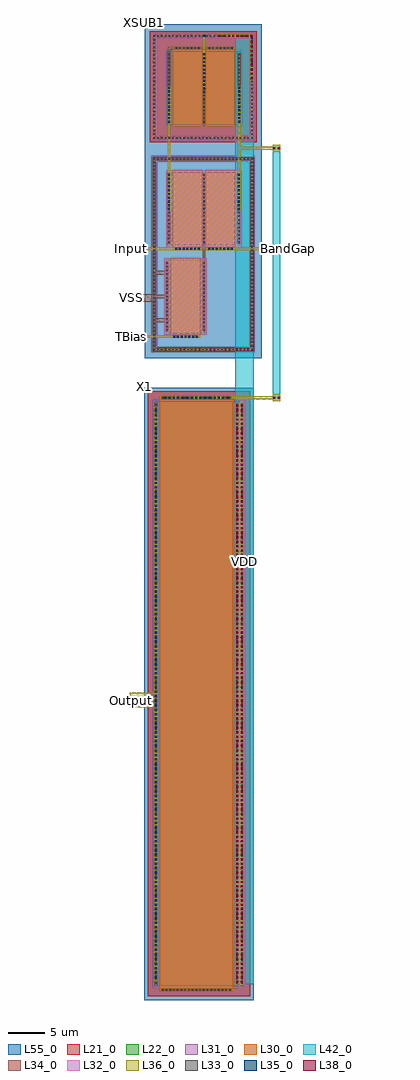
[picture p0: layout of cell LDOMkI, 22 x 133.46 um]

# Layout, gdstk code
import gdstk
lib = gdstk.Library(unit=1e-6, precision=1e-09)
def R(c, l, rs):  # rectangles x0, y0, x1, y1
    for r in rs: c.add(gdstk.rectangle(r[:2], r[2:], *l))
def A(c, l, x, y, w, h, nx, ny, dx, dy):  # array of equal rectangles
    R(c, l, [(x+i*dx, y+j*dy, x+i*dx+w, y+j*dy+h) for i in range(nx) for j in range(ny)])
def P(c, l, *ps):  # polygons
    for p in ps: c.add(gdstk.Polygon(p, *l))
L21_0 = (21, 0)
L22_0 = (22, 0)
L30_0 = (30, 0)
L31_0 = (31, 0)
L32_0 = (32, 0)
L33_0 = (33, 0)
L34_0 = (34, 0)
L35_0 = (35, 0)
L36_0 = (36, 0)
L38_0 = (38, 0)
L42_0 = (42, 0)
L55_0 = (55, 0)

pfet_1 = lib.new_cell('pfet$1')
R(pfet_1, L21_0, [(-1.32,-1.37,12.67,81.37)])
R(pfet_1, L22_0, [(-0.46,0,11.81,80)])
R(pfet_1, L30_0, [(0.31,-0.68,10.31,80.68)])
R(pfet_1, L31_0, [(-0.63,-0.24,11.08,80.24)])
R(pfet_1, L32_0, [(11.08,-0.17,11.98,80.17)])
A(pfet_1, L33_0, 0.61, -0.6, 0.22, 0.22, 19, 2, 0.51, 80.98)
A(pfet_1, L33_0, -0.34, 0.365, 0.22, 0.22, 1, 156, 0, 0.51)
A(pfet_1, L33_0, 10.74, 0.365, 0.22, 0.22, 1, 156, 0, 0.51)
A(pfet_1, L33_0, 11.47, 0.365, 0.22, 0.22, 1, 156, 0, 0.51)
R(pfet_1, L34_0, [(0.53,-0.68,10.09,-0.3), (-0.42,0.285,-0.04,79.715), (10.66,0.285,11.04,79.715), (11.39,0.285,11.77,79.715), (0.53,80.3,10.09,80.68)])
R(pfet_1, L55_0, [(-1.82,-1.87,13.17,81.87)])

nfet = lib.new_cell('nfet')
R(nfet, L22_0, [(-0.42,0,5.04,10)])
R(nfet, L30_0, [(0.31,-0.66,4.31,10.3)])
R(nfet, L32_0, [(-0.59,-0.24,5.21,10.24)])
A(nfet, L33_0, 0.67, -0.59, 0.22, 0.22, 7, 1, 0.51, 0)
A(nfet, L33_0, -0.32, 0.3, 0.22, 0.22, 1, 19, 0, 0.51)
A(nfet, L33_0, 4.72, 0.3, 0.22, 0.22, 1, 19, 0, 0.51)
R(nfet, L34_0, [(0.59,-0.67,4.03,-0.29), (-0.4,0.22,-0.02,9.78), (4.64,0.22,5.02,9.78)])
R(nfet, L55_0, [(-0.84,-1.08,5.46,10.71)])

nfet_1 = lib.new_cell('nfet$1')
R(nfet_1, L22_0, [(-0.42,0,9.56,10)])
R(nfet_1, L30_0, [(0.31,-0.66,4.31,10.3), (4.83,-0.66,8.83,10.3)])
R(nfet_1, L32_0, [(-0.59,-0.24,9.73,10.24)])
A(nfet_1, L33_0, 0.67, -0.59, 0.22, 0.22, 7, 1, 0.51, 0)
A(nfet_1, L33_0, 5.19, -0.59, 0.22, 0.22, 7, 1, 0.51, 0)
A(nfet_1, L33_0, -0.32, 0.3, 0.22, 0.22, 3, 19, 4.78, 0.51)
A(nfet_1, L34_0, -0.4, 0.22, 0.38, 9.56, 3, 1, 4.78, 0)
R(nfet_1, L34_0, [(0.59,-0.67,4.03,-0.29), (5.11,-0.67,8.55,-0.29)])
R(nfet_1, L55_0, [(-0.84,-1.08,9.98,10.71)])

pfet = lib.new_cell('pfet')
R(pfet, L21_0, [(-1.24,-0.91,10.38,11.29)])
R(pfet, L22_0, [(-0.46,0,9.6,10)])
R(pfet, L30_0, [(0.31,-0.3,4.31,10.68), (4.83,-0.3,8.83,10.68)])
R(pfet, L31_0, [(-0.63,-0.24,9.77,10.24)])
A(pfet, L33_0, -0.34, 0.3, 0.22, 0.22, 3, 19, 4.8, 0.51)
A(pfet, L33_0, 0.67, 10.38, 0.22, 0.22, 7, 1, 0.51, 0)
A(pfet, L33_0, 5.19, 10.38, 0.22, 0.22, 7, 1, 0.51, 0)
A(pfet, L34_0, -0.42, 0.22, 0.38, 9.56, 3, 1, 4.8, 0)
R(pfet, L34_0, [(0.59,10.3,4.03,10.68), (5.11,10.3,8.55,10.68)])
R(pfet, L55_0, [(-1.74,-1.41,10.88,11.79)])

erroramplifiernmosmki = lib.new_cell('ErrorAmplifierNMOSMkI')
R(erroramplifiernmosmki, L21_0, [(-2.86,26.06,11.76,41.26)])
P(erroramplifiernmosmki, L22_0, [(-2.46,-2.46),(-2.46,23.6),(-2,23.6),(-2,-2),(10.9,-2),(10.9,23.6),(-2.46,23.6),(-2.46,24.06),(11.36,24.06),(11.36,-2.46)],
  [(-2.46,26.46),(-2.46,40.4),(-2,40.4),(-2,26.92),(10.9,26.92),(10.9,40.4),(-2.46,40.4),(-2.46,40.86),(11.36,40.86),(11.36,26.46)])
P(erroramplifiernmosmki, L31_0, [(-2.62,-2.62),(-2.62,23.44),(-1.84,23.44),(-1.84,-1.84),(10.74,-1.84),(10.74,23.44),(-2.62,23.44),(-2.62,24.22),(11.52,24.22),(11.52,-2.62)])
P(erroramplifiernmosmki, L32_0, [(-2.62,26.3),(-2.62,40.24),(-1.84,40.24),(-1.84,27.08),(10.74,27.08),(10.74,40.24),(-2.62,40.24),(-2.62,41.02),(11.52,41.02),(11.52,26.3)])
A(erroramplifiernmosmki, L33_0, -2.34, -2.34, 0.22, 0.22, 1, 5, 0, 0.5)
A(erroramplifiernmosmki, L33_0, -0.28, -2.34, 0.22, 0.22, 3, 2, 0.51, 26.06)
A(erroramplifiernmosmki, L33_0, 1.26, -2.34, 0.22, 0.22, 3, 2, 0.51, 26.06)
A(erroramplifiernmosmki, L33_0, 3.83, -2.34, 0.22, 0.22, 3, 2, 0.51, 26.06)
A(erroramplifiernmosmki, L33_0, 6.4, -2.34, 0.22, 0.22, 3, 2, 0.51, 26.06)
A(erroramplifiernmosmki, L33_0, 7.94, -2.34, 0.22, 0.22, 3, 2, 0.51, 26.06)
A(erroramplifiernmosmki, L33_0, 11.02, -2.34, 0.22, 0.22, 1, 5, 0, 0.5)
A(erroramplifiernmosmki, L33_0, -2.34, 0.17, 0.22, 0.22, 1, 9, 0, 0.5)
A(erroramplifiernmosmki, L33_0, 11.02, 0.17, 0.22, 0.22, 1, 9, 0, 0.5)
A(erroramplifiernmosmki, L33_0, -2.34, 4.68, 0.22, 0.22, 1, 8, 0, 0.5)
A(erroramplifiernmosmki, L33_0, 11.02, 4.68, 0.22, 0.22, 1, 8, 0, 0.5)
A(erroramplifiernmosmki, L33_0, -2.34, 8.69, 0.22, 0.22, 1, 9, 0, 0.5)
A(erroramplifiernmosmki, L33_0, 11.02, 8.69, 0.22, 0.22, 1, 9, 0, 0.5)
A(erroramplifiernmosmki, L33_0, -2.34, 13.2, 0.22, 0.22, 1, 8, 0, 0.5)
A(erroramplifiernmosmki, L33_0, 11.02, 13.2, 0.22, 0.22, 1, 8, 0, 0.5)
A(erroramplifiernmosmki, L33_0, -2.34, 17.21, 0.22, 0.22, 1, 9, 0, 0.5)
A(erroramplifiernmosmki, L33_0, 11.02, 17.21, 0.22, 0.22, 1, 9, 0, 0.5)
A(erroramplifiernmosmki, L33_0, -2.34, 21.72, 0.22, 0.22, 1, 5, 0, 0.5)
A(erroramplifiernmosmki, L33_0, 11.02, 21.72, 0.22, 0.22, 1, 5, 0, 0.5)
A(erroramplifiernmosmki, L33_0, -0.28, 26.58, 0.22, 0.22, 3, 2, 0.51, 13.94)
A(erroramplifiernmosmki, L33_0, 1.26, 26.58, 0.22, 0.22, 3, 2, 0.51, 13.94)
A(erroramplifiernmosmki, L33_0, 3.83, 26.58, 0.22, 0.22, 3, 2, 0.51, 13.94)
A(erroramplifiernmosmki, L33_0, 6.4, 26.58, 0.22, 0.22, 3, 2, 0.51, 13.94)
A(erroramplifiernmosmki, L33_0, 7.94, 26.58, 0.22, 0.22, 3, 2, 0.51, 13.94)
A(erroramplifiernmosmki, L33_0, -2.34, 27.61, 0.22, 0.22, 1, 3, 0, 0.52)
A(erroramplifiernmosmki, L33_0, 11.02, 27.61, 0.22, 0.22, 1, 3, 0, 0.52)
A(erroramplifiernmosmki, L33_0, -2.34, 30.19, 0.22, 0.22, 1, 3, 0, 0.52)
A(erroramplifiernmosmki, L33_0, 11.02, 30.19, 0.22, 0.22, 1, 3, 0, 0.52)
A(erroramplifiernmosmki, L33_0, -2.34, 31.74, 0.22, 0.22, 1, 3, 0, 0.52)
A(erroramplifiernmosmki, L33_0, 11.02, 31.74, 0.22, 0.22, 1, 3, 0, 0.52)
A(erroramplifiernmosmki, L33_0, -2.34, 34.32, 0.22, 0.22, 1, 3, 0, 0.52)
A(erroramplifiernmosmki, L33_0, 11.02, 34.32, 0.22, 0.22, 1, 3, 0, 0.52)
A(erroramplifiernmosmki, L33_0, -2.34, 35.87, 0.22, 0.22, 1, 3, 0, 0.52)
A(erroramplifiernmosmki, L33_0, 11.02, 35.87, 0.22, 0.22, 1, 3, 0, 0.52)
A(erroramplifiernmosmki, L33_0, -2.34, 38.45, 0.22, 0.22, 1, 3, 0, 0.52)
A(erroramplifiernmosmki, L33_0, 11.02, 38.45, 0.22, 0.22, 1, 3, 0, 0.52)
R(erroramplifiernmosmki, L33_0, [(-1.83,-2.34,-1.61,-2.12), (-1.31,-2.34,-1.09,-2.12), (-0.8,-2.34,-0.58,-2.12), (2.8,-2.34,3.02,-2.12), (3.31,-2.34,3.53,-2.12), (5.37,-2.34,5.59,-2.12), (5.88,-2.34,6.1,-2.12), (9.48,-2.34,9.7,-2.12), (9.99,-2.34,10.21,-2.12), (10.51,-2.34,10.73,-2.12), (-1.83,23.72,-1.61,23.94), (-1.31,23.72,-1.09,23.94), (-0.8,23.72,-0.58,23.94), (2.8,23.72,3.02,23.94), (3.31,23.72,3.53,23.94), (5.37,23.72,5.59,23.94), (5.88,23.72,6.1,23.94), (9.48,23.72,9.7,23.94), (9.99,23.72,10.21,23.94), (10.51,23.72,10.73,23.94), (-2.34,26.58,-2.12,26.8), (-1.83,26.58,-1.61,26.8), (-1.31,26.58,-1.09,26.8), (-0.8,26.58,-0.58,26.8), (2.8,26.58,3.02,26.8), (3.31,26.58,3.53,26.8), (5.37,26.58,5.59,26.8), (5.88,26.58,6.1,26.8), (9.48,26.58,9.7,26.8), (9.99,26.58,10.21,26.8), (10.51,26.58,10.73,26.8), (11.02,26.58,11.24,26.8), (-2.34,27.1,-2.12,27.32), (11.02,27.1,11.24,27.32), (-2.34,29.16,-2.12,29.38), (11.02,29.16,11.24,29.38), (-2.34,29.68,-2.12,29.9), (11.02,29.68,11.24,29.9), (-2.34,33.29,-2.12,33.51), (11.02,33.29,11.24,33.51), (-2.34,33.81,-2.12,34.03), (11.02,33.81,11.24,34.03), (-2.34,37.42,-2.12,37.64), (11.02,37.42,11.24,37.64), (-2.34,37.94,-2.12,38.16), (11.02,37.94,11.24,38.16), (-2.34,40,-2.12,40.22), (11.02,40,11.24,40.22), (-2.34,40.52,-2.12,40.74), (-1.83,40.52,-1.61,40.74), (-1.31,40.52,-1.09,40.74), (-0.8,40.52,-0.58,40.74), (2.8,40.52,3.02,40.74), (3.31,40.52,3.53,40.74), (5.37,40.52,5.59,40.74), (5.88,40.52,6.1,40.74), (9.48,40.52,9.7,40.74), (9.99,40.52,10.21,40.74), (10.51,40.52,10.73,40.74), (11.02,40.52,11.24,40.74)])
A(erroramplifiernmosmki, L34_0, -2.1, 1.5, 1.82, 0.5, 1, 3, 0, 3.25)
R(erroramplifiernmosmki, L34_0, [(0.33,-0.67,3.77,-0.29), (4.38,8.78,4.76,13.22), (0.59,11.33,4.03,11.71), (5.11,11.33,8.55,11.71), (-0.4,16.78,-0.02,21.78), (9.16,16.78,9.54,21.78), (-0.4,28.72,-0.02,33.72), (9.2,28.72,9.58,33.72), (4.4,32.72,4.78,38.28), (-0.4,37.78,-0.02,39.18), (-0.4,38.8,8.59,39.18)])
P(erroramplifiernmosmki, L34_0, [(-2.46,-2.46),(-2.46,23.6),(-2,23.6),(-2,-2),(10.9,-2),(10.9,23.6),(-2.46,23.6),(-2.46,24.06),(11.36,24.06),(11.36,-2.46)],
  [(-2.46,26.46),(-2.46,40.4),(-2,40.4),(-2,26.92),(10.9,26.92),(10.9,40.4),(-2.46,40.4),(-2.46,40.86),(11.36,40.86),(11.36,26.46)])
A(erroramplifiernmosmki, L35_0, 0.36, -0.61, 0.26, 0.26, 7, 1, 0.52, 0)
A(erroramplifiernmosmki, L35_0, 0.62, 11.39, 0.26, 0.26, 7, 1, 0.52, 0)
A(erroramplifiernmosmki, L35_0, 5.14, 11.39, 0.26, 0.26, 7, 1, 0.52, 0)
A(erroramplifiernmosmki, L35_0, -0.34, 16.81, 0.26, 0.26, 1, 10, 0, 0.52)
A(erroramplifiernmosmki, L35_0, 9.22, 16.81, 0.26, 0.26, 1, 10, 0, 0.52)
A(erroramplifiernmosmki, L35_0, -0.34, 28.75, 0.26, 0.26, 1, 10, 0, 0.52)
A(erroramplifiernmosmki, L35_0, 9.26, 28.75, 0.26, 0.26, 1, 10, 0, 0.52)
A(erroramplifiernmosmki, L35_0, 4.46, 32.77, 0.26, 0.26, 1, 11, 0, 0.52)
R(erroramplifiernmosmki, L35_0, [(4.46,40.5,4.72,40.76)])
R(erroramplifiernmosmki, L36_0, [(-3.6,-0.67,3.77,-0.29), (0.33,-0.67,3.77,-0.29), (-3.6,11.33,4.03,11.71), (0.59,11.33,4.03,11.71), (5.11,11.33,8.55,11.71), (5.11,11.33,12.6,11.71), (-0.4,16.78,-0.02,21.78), (-0.4,16.78,-0.02,33.72), (9.16,16.78,9.54,21.78), (9.16,16.78,9.58,33.72), (9.16,25.07,12.6,25.45), (-0.4,28.72,-0.02,33.72), (9.2,28.72,9.58,33.72), (4.4,32.72,4.78,38.28), (4.4,32.72,4.78,40.86)])
R(erroramplifiernmosmki, L55_0, [(-3.5,-3.46,12.5,42.26)])
erroramplifiernmosmki.add(gdstk.Reference(nfet, (-0.26,0)))
erroramplifiernmosmki.add(gdstk.Reference(nfet_1, (0,12)))
erroramplifiernmosmki.add(gdstk.Reference(pfet, (0.02,28.5)))
erroramplifiernmosmki.add(gdstk.Label('VSS', (-2.23,10.8), layer=34, texttype=10))
erroramplifiernmosmki.add(gdstk.Label('VDD', (-2.23,33.66), layer=34, texttype=10))
erroramplifiernmosmki.add(gdstk.Label('Output', (12.4,25.26), layer=36, texttype=10))
erroramplifiernmosmki.add(gdstk.Label('Input', (-3.4,11.52), layer=36, texttype=10))
erroramplifiernmosmki.add(gdstk.Label('Com', (12.4,11.52), layer=36, texttype=10))
erroramplifiernmosmki.add(gdstk.Label('TBias', (-3.4,-0.48), layer=36, texttype=10))

ldomki = lib.new_cell('LDOMkI')
R(ldomki, L34_0, [(12.48,2.155,13.59,81.585), (1.4,2.655,1.78,81.085), (-2,95.5,1.6,96.5)])
A(ldomki, L35_0, 12.595, 2.37, 0.26, 0.26, 1, 128, 0, 0.62)
A(ldomki, L35_0, 13.215, 2.37, 0.26, 0.26, 1, 128, 0, 0.62)
A(ldomki, L35_0, 1.46, 2.99, 0.26, 0.26, 1, 126, 0, 0.62)
A(ldomki, L35_0, 2.66, 82.23, 0.26, 0.26, 15, 1, 0.62, 0)
A(ldomki, L35_0, 14.6, 125.91, 0.26, 0.26, 1, 10, 0, 0.62)
A(ldomki, L35_0, 10.21, 131.7, 0.26, 0.26, 7, 1, 0.62, 0)
R(ldomki, L36_0, [(12.48,2.155,13.59,81.585), (1.4,2.655,1.78,81.085), (-2,40,1.78,42), (17.6,81.9,18.6,82.82), (2.35,82.17,18.6,82.55), (-2,90.53,0,90.91), (-2,102.53,0,102.91), (16.2,102.53,20,102.91), (17.6,115.96,18.6,116.96), (16.2,116.27,18.6,116.65), (14.5,125.6,14.96,132.06), (10,131.6,14.96,132.06)])
A(ldomki, L38_0, 12.595, 2.37, 0.26, 0.26, 1, 128, 0, 0.62)
A(ldomki, L38_0, 13.215, 2.37, 0.26, 0.26, 1, 128, 0, 0.62)
A(ldomki, L38_0, 14.6, 125.94, 0.26, 0.26, 1, 9, 0, 0.62)
A(ldomki, L38_0, 10.18, 131.7, 0.26, 0.26, 8, 1, 0.62, 0)
R(ldomki, L38_0, [(17.66,82.23,17.92,82.49), (18.28,82.23,18.54,82.49), (17.66,116.33,17.92,116.59), (18.28,116.33,18.54,116.59)])
R(ldomki, L42_0, [(12.48,2.155,13.59,81.585), (12.48,2.155,14.96,132.06), (17.6,81.9,18.6,116.96), (10,131.6,14.96,132.06)])
ldomki.add(gdstk.Reference(pfet_1, (1.82,1.87)))
ldomki.add(gdstk.Reference(erroramplifiernmosmki, (3.6,91.2)))
ldomki.add(gdstk.Label('VSS', (-1.8,96), layer=34, texttype=10))
ldomki.add(gdstk.Label('Output', (-1.8,41), layer=36, texttype=10))
ldomki.add(gdstk.Label('Input', (-1.8,102.72), layer=36, texttype=10))
ldomki.add(gdstk.Label('TBias', (-1.8,90.72), layer=36, texttype=10))
ldomki.add(gdstk.Label('BandGap', (19.8,102.72), layer=36, texttype=10))
ldomki.add(gdstk.Label('X1', (0,83.94), layer=255, texttype=0))
ldomki.add(gdstk.Label('XSUB1', (0,133.66), layer=255, texttype=0))
ldomki.add(gdstk.Label('VDD', (13.7,60), layer=42, texttype=10))

lib.write_gds('LDOMkI.gds')
